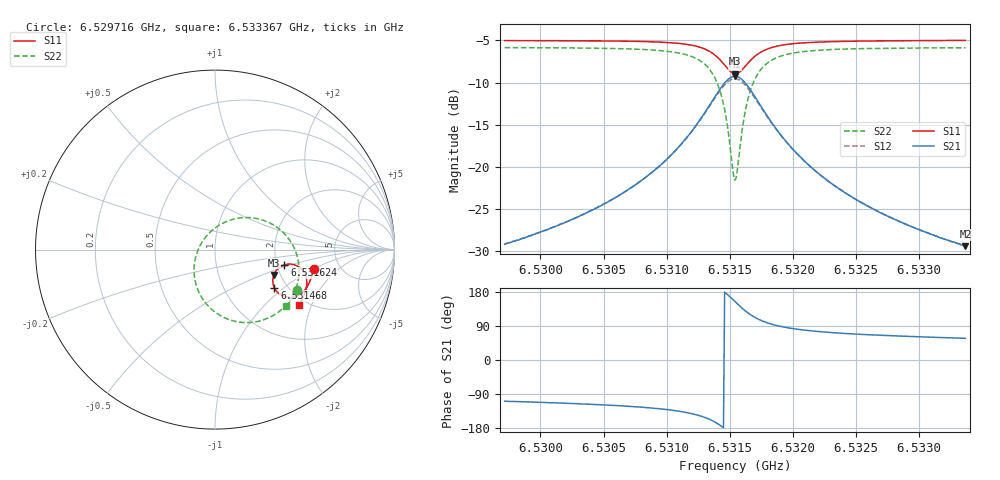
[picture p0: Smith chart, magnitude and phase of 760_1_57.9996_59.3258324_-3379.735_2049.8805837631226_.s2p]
#  HZ  S  RI  R  50.00
! Rohde & Schwarz Vector Network Analyzer
! Rohde-Schwarz,ZNB20-2Port,1311601062101988,3.16
! Created: UTC 3/21/2024, 1:24:21 AM
! freq[Hz]  re:S11  im:S11  re:S21  im:S21  re:S12  im:S12  re:S22  im:S22
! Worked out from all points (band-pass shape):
!   401 points, 6.529716 GHz to 6.533367 GHz, reference 50 ohm
!   highest |S21| = -9.26 dB at 6.531541 GHz (marker M1); lowest = -29.4 dB at 6.533367 GHz (marker M2)
!   |S21| within 3 dB of the highest: 6.531358 GHz to 6.531724 GHz (365.8 kHz wide, 0.0056 % of centre)
!   lowest |S11| = -9.0 dB at 6.531541 GHz (marker M3), VSWR 2.11, Z = 92.5 - j29.8 ohm
!   |S11| at or under -10 dB: nowhere
!   |S22| runs from -21.6 to -5.9 dB; largest |S21 - S12| = 0.015
!   S11 on the Smith chart (normalised r, x): 6.529716 GHz: 3.20, -1.00; 6.531468 GHz: 1.71, -0.87; 6.531624 GHz: 2.20, -0.44; 6.533367 GHz: 1.81, -1.63
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6.529716e9  0.5496 -0.1073  -0.0112 -0.033  -0.0119 -0.0328  0.4558 -0.2268
6.5303275e9  0.5357 -0.1592  -0.0227 -0.0467  -0.0239 -0.0461  0.4184 -0.2849
6.5306652e9  0.5219 -0.1916  -0.0371 -0.0606  -0.0388 -0.0596  0.3807 -0.3256
6.5309391e9  0.5022 -0.2229  -0.0627 -0.0788  -0.065 -0.077  0.3234 -0.3676
6.5311581e9  0.4689 -0.252  -0.1118 -0.0984  -0.115 -0.0942  0.2251 -0.4025
6.5313133e9  0.4172 -0.2667  -0.1925 -0.0983  -0.1943 -0.0897  0.0799 -0.3903
6.5314045e9  0.3663 -0.2526  -0.2703 -0.0571  -0.2673 -0.0452  -0.0462 -0.305
6.531441e9  0.3446 -0.2341  -0.3017 -0.0189  -0.2953 -0.00716  -0.0909 -0.2346
6.5314684e9  0.3311 -0.2138  -0.3196 0.0199  -0.3102 0.0307  -0.1121 -0.1664
6.5315232e9  0.323 -0.1595  -0.3222 0.1172  -0.3085 0.1223  -0.0965 -0.0068
6.5315414e9  0.3278 -0.1406  -0.31 0.1499  -0.2962 0.1526  -0.0709 0.0441
6.5315597e9  0.3366 -0.1231  -0.2918 0.1796  -0.2784 0.18  -0.0353 0.089
6.5315962e9  0.3631 -0.0963  -0.242 0.2242  -0.2311 0.2208  0.0541 0.1522
6.5316236e9  0.3863 -0.085  -0.1998 0.2424  -0.1913 0.2377  0.1266 0.1747
6.5316601e9  0.4169 -0.0807  -0.1465 0.249  -0.1408 0.244  0.2161 0.1759
6.5316966e9  0.4426 -0.0849  -0.1021 0.2419  -0.0985 0.2375  0.2893 0.1556
6.5318061e9  0.4885 -0.1162  -0.024 0.1942  -0.0226 0.1921  0.413 0.057
6.5319339e9  0.5071 -0.1521  0.00875 0.1449  0.0101 0.1441  0.4588 -0.0401
6.532153e9  0.5115 -0.1948  0.0227 0.0959  0.0239 0.0954  0.4676 -0.1401
6.5324176e9  0.5051 -0.2295  0.0241 0.0659  0.025 0.0655  0.4547 -0.2067
6.5327645e9  0.4928 -0.2635  0.022 0.0456  0.0228 0.0453  0.4334 -0.2593
6.5333669e9  0.4679 -0.3099  0.0185 0.0285  0.0191 0.0283  0.3977 -0.3162
